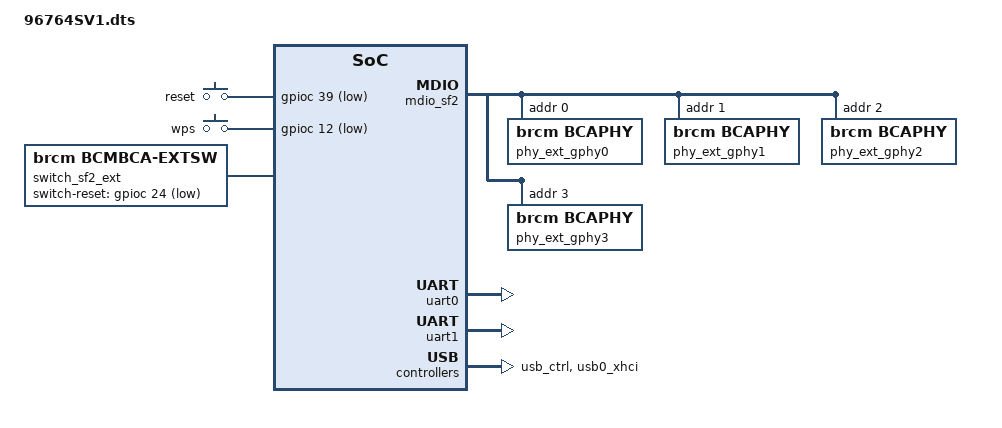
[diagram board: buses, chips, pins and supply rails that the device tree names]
#include "6764.dtsi"
#include <dt-bindings/input/linux-event-codes.h>

/ {

	memory_controller {
		memcfg = <(BP_DDR_TYPE_DDR3       | \
			BP_DDR_SPEED_933_13_13_13    | \
			BP_DDR_TOTAL_SIZE_512MB      | \
			BP_DDR_DEVICE_WIDTH_16         | \
			BP_DDR_TOTAL_WIDTH_16BIT      | \
			BP_DDR_6764_DEFAULT)>;    /* memcfg=0x0000142f */
	};

	config {
			system_led = "oem:green:status";
			reset_led = "oem:green:internet";
	};
    gpio-keys-polled {
        compatible = "gpio-keys-polled";
        //#address-cells = <1>;
        //#size-cells = <0>;
        poll-interval = <20>;

        reset {
            label = "reset";
            gpios = <&gpioc 39 GPIO_ACTIVE_LOW>;
			linux,code = <KEY_RESTART>;
        };
        wps {
            label = "wps";
            gpios = <&gpioc 12 GPIO_ACTIVE_LOW>;
			linux,code = <KEY_WPS_BUTTON>;
        };
    };


/*
	buttons {
		compatible = "brcm,buttons";
		reset_button {
			ext_irq = <&bca_extintr 39 GPIO_ACTIVE_LOW (BCA_EXTINTR_TYPE_LOW_LEVEL | BCA_EXTINTR_TYPE_SENSE_EDGE)>;
			press {
				print = "Button Press -- Hold for 5s to do restore to default";
			};
			hold {
				rst_to_dflt = <5>;
			};
			release {
				reset = <0>;
			};
		};
		ses_button {
			ext_irq = <&bca_extintr 12 GPIO_ACTIVE_LOW (BCA_EXTINTR_TYPE_LOW_LEVEL | BCA_EXTINTR_TYPE_SENSE_EDGE)>;
			release {
				ses_short_period = <0>;
				ses_long_period = <3>;
			};
		};
	};
*/
	switch_sf2_ext:0 {
	};
};

&sysport {
	ethsw_ext = <&switch_sf2_ext>;
};
&mdio_sf2 {
	/* Port PHY mapping:
        port_imp -8#0- port_gphy <----> phy_gphy
                  //# 6- port_sgmii1 <--> phy_serdes1 - phy_cascade1
                  ##5- port_sgmii0 <--> phy_serdes0 <--> port_ext_imp -8#0- port_ext_gphy0 <--> phy_ext_gphy0
                                                                       # 1- port_ext_gphy1 <--> phy_ext_gphy1
                                                                       # 2- port_ext_gphy2 <--> phy_ext_gphy2
                                                                       ##3- port_ext_gphy3 <--> phy_ext_gphy3
	 */
	phy_gphy {
		status = "okay";
	};
	phy_serdes0 {
		phy-extswitch;
		config-xfi="2500Base-X";
		phy-xfi-tx-polarity-inverse;
		phy-xfi-rx-polarity-inverse;
		force-2p5g-10gvco;
		config-speed = <2500>;
		status = "okay";
	};

	/* PHYs on external SF2 switch */
	phy_ext_gphy0:phy_ext_gphy0 {
		compatible = "brcm,bcaphy";
		phy-type = "EGPHY";
		reg = <0>;
		status = "okay";
	};
	phy_ext_gphy1:phy_ext_gphy1 {
		compatible = "brcm,bcaphy";
		phy-type = "EGPHY";
		reg = <1>;
		status = "okay";
	};
	phy_ext_gphy2:phy_ext_gphy2 {
		compatible = "brcm,bcaphy";
		phy-type = "EGPHY";
		reg = <2>;
		status = "okay";
	};
	phy_ext_gphy3:phy_ext_gphy3 {
		compatible = "brcm,bcaphy";
		phy-type = "EGPHY";
		reg = <3>;
		status = "okay";
	};
};

&switch_sf2_ext {                       /* linux/uboot: external sf2 */
	unit = <1>;
	sw-type = "SF2_SW";

	compatible = "brcm,bcmbca-extsw";
	extswsgmii_addr = <0x6>;
	switch-reset = <&gpioc 24 GPIO_ACTIVE_LOW>;

	ports {
		#address-cells = <1>;
		#size-cells = <0>;

		port_ext_gphy0 {
			phy-handle = <&phy_ext_gphy0>;
			reg = <0>;
			mac-type = "SF2MAC";
			phy-mode = "gmii";
			gmii-direct;
			status = "okay";
			mtd-mac-address = <&bdinfo 0xDE00>;
		};
		port_ext_gphy1 {
			phy-handle = <&phy_ext_gphy1>;
			reg = <1>;
			mac-type = "SF2MAC";
			phy-mode = "gmii";
			gmii-direct;
			status = "okay";
			mtd-mac-address = <&bdinfo 0xDE00>;
		};
		port_ext_gphy2 {
			phy-handle = <&phy_ext_gphy2>;
			reg = <2>;
			mac-type = "SF2MAC";
			phy-mode = "gmii";
			gmii-direct;
			status = "okay";
			mtd-mac-address = <&bdinfo 0xDE00>;
		};
		port_ext_gphy3 {
			phy-handle = <&phy_ext_gphy3>;
			reg = <3>;
			mac-type = "SF2MAC";
			phy-mode = "gmii";
			gmii-direct;
			status = "okay";
			mtd-mac-address = <&bdinfo 0xDE00>;
		};
		port_ext_imp {
			management;                     /* sf2_ext.p8 <--> root.p5  when P8_SGMII_SEL=1 */
			reg = <8>;
			mac-type = "SF2MAC";
			shrink-ipg;
			phy-mode = "gmii";
			gmii-direct;
			status = "okay";
		};
	};
};

&switch0 {

	ports {
		port_gphy {
			phy-handle = <&phy_gphy>;
//			network-leds = <&led0 &led1>;
			status = "okay";
			mtd-mac-address = <&bdinfo 0xDE00>;
			mtd-mac-address-increment = <1>;			
		};
		port_sgmii0 {
			phy-handle = <&phy_serdes0>;
			link = <&switch_sf2_ext>;
			shrink-ipg;
			status = "okay";
		};
	};
};


&vreg_sync {
	pinctrl-0 = <&b_vreg_sync_pin_33 &a_vreg_sync_pin_44>;
	pinctrl-names = "default";
	status="okay";
};

&led_ctrl {

	led4: sw_parallel_led_4 {
		active_low;
		pinctrl-0 = <&b_per_led_03_pin_36>;
		brightness = <255>;
		flash_rate = <0>;
		status="okay";
		label="oem:green:internet";
	};
	led5: sw_parallel_led_5 {
		active_low;
		pinctrl-0 = <&a_per_led_10_pin_10>;
		brightness = <255>;
		flash_rate = <0>;
		status = "okay";
		label = "oem:green:wifi5g";
	};
	led6: sw_parallel_led_6 {
		active_low;
		pinctrl-0 = <&b_per_led_05_pin_38>;
		brightness = <255>;
		flash_rate = <0>;
		status = "okay";
		label = "oem:green:wifi";
	};
	led7: sw_parallel_led_7 {
		active_low;
		pinctrl-0 = <&a_per_led_28_pin_28>;
		brightness = <255>;
		flash_rate = <0>;
		status = "okay";
		label = "oem:green:lan";
	};
	led8: sw_parallel_led_8 {
		active_low;
		pinctrl-0 = <&a_per_led_22_pin_22>;
		brightness = <255>;
		flash_rate = <0>;
		status="okay";
		label="oem:green:wan";
	};
	led9: sw_parallel_led_9 {
		active_low;
		pinctrl-0 = <&a_per_led_23_pin_23>;
		brightness = <255>;
		flash_rate = <0>;
		status="okay";
		label="oem:green:status";
	};
};

&legacy_leds {
	//wl-sess-led = <&led7>;
	wl0-led = <&led6>;
	wl1-led = <&led5>;
};

&uart0 {
	pinctrl-names = "default";
	pinctrl-0 = <&uart0_sdin_pin_64 &uart0_sdout_pin_65>;
	status = "okay";
};

&uart1 {
    pinctrl-names = "default";
    pinctrl-0 = <&a_uart1_sin_pin_32 &a_uart1_sout_pin_2>;
    status = "okay";
};

&usb_ctrl {
	pinctrl-names="default";
	pinctrl-0 = <&usb0_pwr_pins>;
	status = "okay";
	xhci-enable;
	pwron-bias-pull-up;
};

&usb0_xhci {
	status = "okay";
};

#if defined(CONFIG_BCM_PCIE_HCD) || defined(CONFIG_BCM_PCIE_HCD_MODULE)

&pcie0 {
	status = "disabled";
};
#endif //#if defined(CONFIG_BCM_PCIE_HCD) || defined(CONFIG_BCM_PCIE_HCD_MODULE)

&plat_rsvmem_uncached_device {

#ifdef DT_RESERVED_DHD_IN_UNCACHED_DEV
	 dt_reserved_dhd0:dt_reserved_dhd0 {
		rsvd-size = <0>;
	};
	 dt_reserved_dhd1:dt_reserved_dhd1 {
		rsvd-size = <0>;
	};
	 dt_reserved_dhd2:dt_reserved_dhd2 {
		rsvd-size = <0>;
	};
#endif

};
